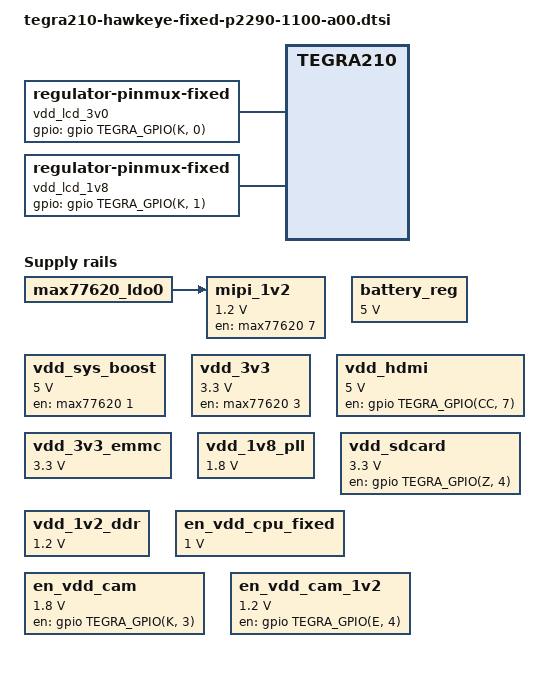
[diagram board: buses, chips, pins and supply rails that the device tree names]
/*
 * Copyright (c) 2014-2015, NVIDIA CORPORATION.  All rights reserved.
 *
 * This program is free software; you can redistribute it and/or modify
 * it under the terms of the GNU General Public License as published by
 * the Free Software Foundation; either version 2 of the License, or
 * (at your option) any later version.
 *
 * This program is distributed in the hope that it will be useful, but WITHOUT
 * ANY WARRANTY; without even the implied warranty of MERCHANTABILITY or
 * FITNESS FOR A PARTICULAR PURPOSE.  See the GNU General Public License for
 * more details.
 */

#include <dt-bindings/gpio/tegra-gpio.h>

/ {
	regulators {
		compatible = "simple-bus";
		device_type = "fixed-regulators";
		#address-cells = <1>;
		#size-cells = <0>;

		battery_reg: regulator@0 {
			compatible = "regulator-fixed";
			reg = <0>;
			regulator-name = "vdd-ac-bat";
			regulator-min-microvolt = <5000000>;
			regulator-max-microvolt = <5000000>;
			regulator-always-on;
		};

		vdd_sys_boost: regulator@1 {
			compatible = "regulator-fixed-sync";
			reg = <1>;
			regulator-name = "vdd-5v0";
			regulator-min-microvolt = <5000000>;
			regulator-max-microvolt = <5000000>;
			regulator-always-on;
			regulator-boot-on;
			regulator-disable-on-suspend;
			gpio = <&max77620 1 0>;
			enable-active-high;
			regulator-disable-on-shutdown;
		};

		vdd_3v3: regulator@2 {
			compatible = "regulator-fixed-sync";
			reg = <2>;
			regulator-name = "vdd-3v3";
			regulator-min-microvolt = <3300000>;
			regulator-max-microvolt = <3300000>;
			regulator-always-on;
			gpio = <&max77620 3 0>;
			enable-active-high;
			consumers {
				c1 {
					regulator-consumer-supply = "avdd_usb";
					regulator-consumer-device = "tegra-ehci.1";
				};
			};
		};

		mipi_1v2: regulator@3 {
			compatible = "regulator-fixed-sync";
			reg = <3>;
			regulator-name = "mipi-1v2";
			regulator-min-microvolt = <1200000>;
			regulator-max-microvolt = <1200000>;
			regulator-boot-on;
			gpio = <&max77620 7 0>;
			enable-active-high;
			vin-supply = <&max77620_ldo0>;
		};

		vdd_lcd_3v0: regulator@4 {
			compatible = "regulator-pinmux-fixed";
			reg = <4>;
			regulator-name = "vdd_lcd_3v0";
			regulator-min-microvolt = <3000000>;
			regulator-max-microvolt = <3000000>;
			regulator-boot-on;
			gpio = <&gpio TEGRA_GPIO(K, 0) 0>;
			enable-active-high;
			pinctrl-names = "enable";
			pinctrl-0 = <&enable_vdd_lcd_3v0_switch>;
		};

		vdd_lcd_1v8: regulator@5 {
			compatible = "regulator-pinmux-fixed";
			reg = <5>;
			regulator-name = "vdd_lcd_1v8";
			regulator-min-microvolt = <1800000>;
			regulator-max-microvolt = <1800000>;
			regulator-boot-on;
			gpio = <&gpio TEGRA_GPIO(K, 1) 0>;
			enable-active-high;
			pinctrl-names = "enable";
			pinctrl-0 = <&enable_vdd_lcd_1v8_switch>;
		};


		vdd_hdmi: regulator@6 {
			compatible = "regulator-fixed-sync";
			reg = <6>;
			regulator-name = "vdd-hdmi";
			regulator-min-microvolt = <5000000>;
			regulator-max-microvolt = <5000000>;
			regulator-boot-on;
			gpio = <&gpio TEGRA_GPIO(CC, 7) 0>;
			enable-active-high;
		};

		vdd_3v3_emmc: regulator@7 {
			compatible = "regulator-fixed-sync";
			reg = <7>;
			regulator-name = "vdd-3v3-emmc";
			regulator-min-microvolt = <3300000>;
			regulator-max-microvolt = <3300000>;
		};

		vdd_1v8_pll: regulator@8 {
			compatible = "regulator-fixed-sync";
			reg = <8>;
			regulator-name = "vdd-1v8-pll";
			regulator-min-microvolt = <1800000>;
			regulator-max-microvolt = <1800000>;
		};

		vdd_sdcard: regulator@9 {
			compatible = "regulator-fixed-sync";
			reg = <9>;
			regulator-name = "vdd-sd-3v3";
			regulator-min-microvolt = <3300000>;
			regulator-max-microvolt = <3300000>;
			gpio = <&gpio TEGRA_GPIO(Z, 4) 0>;
			enable-active-high;
		};

		vdd_1v2_ddr: regulator@10 {
			compatible = "regulator-fixed-sync";
			reg = <10>;
			regulator-name = "vdd-1v2-ddr";
			regulator-min-microvolt = <1200000>;
			regulator-max-microvolt = <1200000>;
		};

		en_vdd_cpu_fixed: regulator@11 {
			compatible = "regulator-fixed";
			reg = <11>;
			regulator-name = "vdd-cpu-fixed";
			regulator-min-microvolt = <1000000>;
			regulator-max-microvolt = <1000000>;
		};

		en_vdd_cam: regulator@12 {
			compatible = "regulator-fixed-sync";
			reg = <12>;
			regulator-name = "en-vdd-cam";
			regulator-min-microvolt = <1800000>;
			regulator-max-microvolt = <1800000>;
			gpio = <&gpio TEGRA_GPIO(K, 3) 0>;
			enable-active-high;
		};
		en_vdd_cam_1v2: regulator@13 {
			compatible = "regulator-fixed-sync";
			reg = <13>;
			regulator-name = "vdd-cam-1v2";
			regulator-min-microvolt = <1200000>;
			regulator-max-microvolt = <1200000>;
			gpio = <&gpio TEGRA_GPIO(E, 4) 0>;
			enable-active-high;
		};
	};
};
